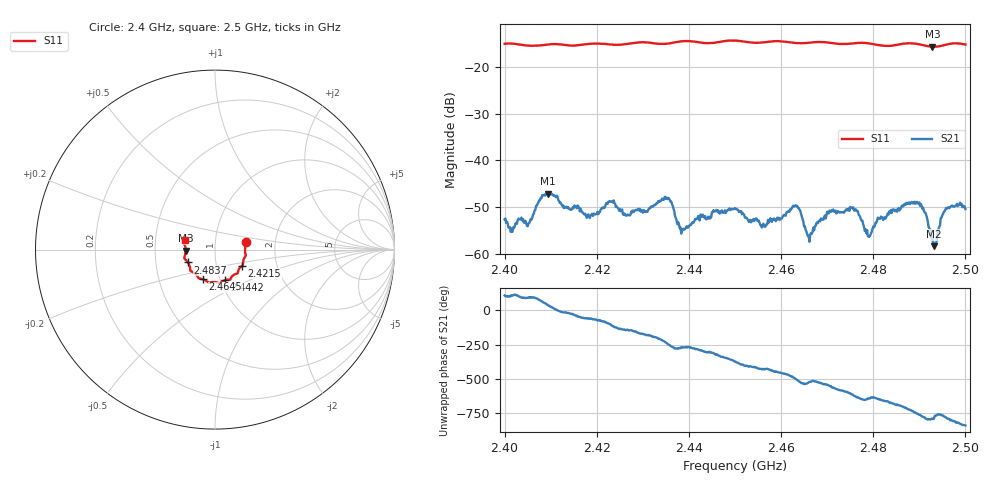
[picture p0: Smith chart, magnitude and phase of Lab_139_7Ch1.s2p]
# Hz S RI R 50
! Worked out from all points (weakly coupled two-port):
!   601 points, 2.4 GHz to 2.5 GHz, reference 50 ohm
!   highest |S21| = -47.12 dB at 2.4093 GHz (marker M1); lowest = -58.3 dB at 2.4932 GHz (marker M2)
!   lowest |S11| = -15.7 dB at 2.4928 GHz (marker M3), VSWR 1.39, Z = 36 - j0.371 ohm
!   |S11| at or under -10 dB: start of sweep to end of sweep
!   S12 and S22 are empty: the file has one direction only
!   S11 on the Smith chart (normalised r, x): 2.4 GHz: 1.41, +0.12; 2.4215 GHz: 1.33, -0.25; 2.4442 GHz: 1.05, -0.37; 2.4645 GHz: 0.83, -0.29; 2.4837 GHz: 0.73, -0.11; 2.5 GHz: 0.71, +0.07
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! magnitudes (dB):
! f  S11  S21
! 2.4 GHz  -15.1  -52.6
! 2.4052 GHz  -15.5  -53.5
! 2.4093 GHz  -15.2  -47.1
! 2.4167 GHz  -15.3  -50.8
! 2.4215 GHz  -15.1  -50.0
! 2.4333 GHz  -15.1  -48.7
! 2.4357 GHz  -15.0  -48.1
! 2.4385 GHz  -14.6  -54.7
! 2.4442 GHz  -15.0  -52.1
! 2.45 GHz  -14.4  -50.2
! 2.4645 GHz  -15.0  -52.0
! 2.4667 GHz  -14.8  -55.7
! 2.471 GHz  -14.9  -50.6
! 2.4762 GHz  -15.0  -50.4
! 2.479 GHz  -15.0  -56.3
! 2.4833 GHz  -15.6  -51.6
! 2.4837 GHz  -15.5  -51.3
! 2.49 GHz  -15.2  -49.0
! 2.4928 GHz  -15.7  -56.5
! 2.4932 GHz  -15.7  -58.3
! 2.4958 GHz  -15.3  -50.2
! 2.5 GHz  -15.3  -50.4
